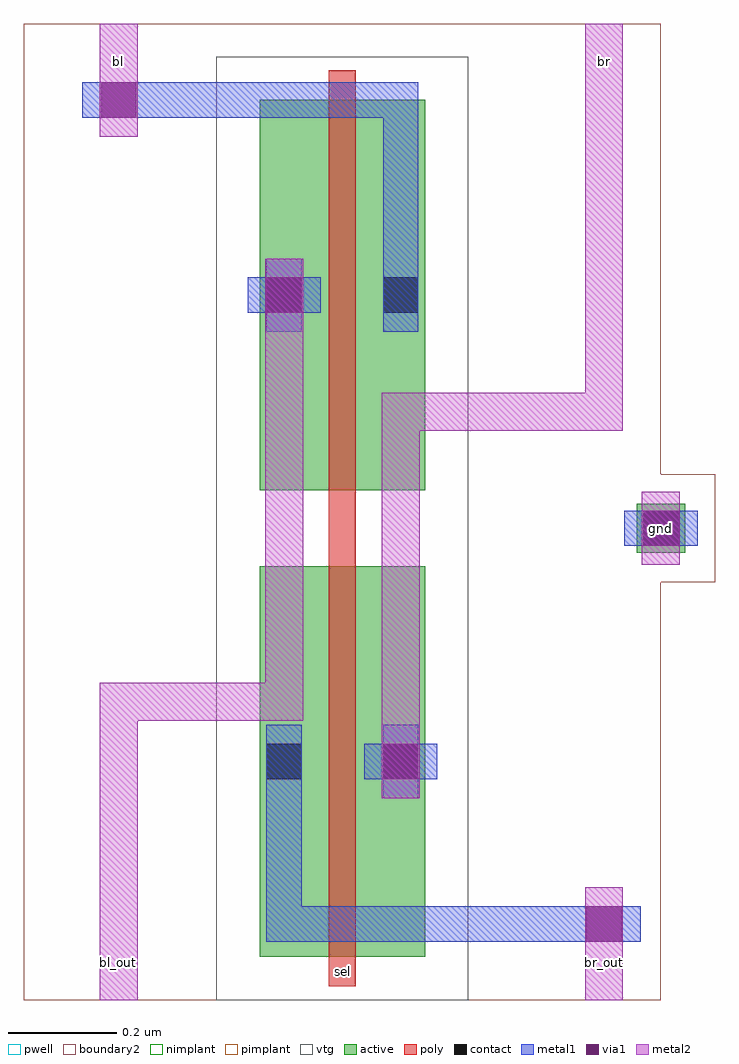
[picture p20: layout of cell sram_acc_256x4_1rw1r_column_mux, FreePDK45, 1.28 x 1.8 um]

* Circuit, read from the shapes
.subckt sram_acc_256x4_1rw1r_column_mux bl bl_out br br_out gnd sel
M1 br sel br_out gnd nfet w=0.72u l=0.05u
M2 bl sel bl_out gnd nfet w=0.72u l=0.05u
.ends

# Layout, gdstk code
import gdstk
lib = gdstk.Library(unit=1e-6, precision=5e-10)
def R(c, l, rs):  # rectangles x0, y0, x1, y1
    for r in rs: c.add(gdstk.rectangle(r[:2], r[2:], *l))
active = (1, 0)
pwell = (2, 0)
nimplant = (4, 0)
pimplant = (5, 0)
vtg = (6, 0)
poly = (9, 0)
contact = (10, 0)
metal1 = (11, 0)
via1 = (12, 0)
metal2 = (13, 0)
boundary2 = (239, 0)

sram_acc_256x4_1rw1r_con = lib.new_cell('sram_acc_256x4_1rw1r_contact_10')
R(sram_acc_256x4_1rw1r_con, active, [(0,0.0225,0.09,0.1125)])
R(sram_acc_256x4_1rw1r_con, pwell, [(-0.055,-0.0325,0.145,0.1675)])
R(sram_acc_256x4_1rw1r_con, nimplant, [(0,0.0225,0.09,0.1125)])
R(sram_acc_256x4_1rw1r_con, contact, [(0.0125,0.035,0.0775,0.1)])
R(sram_acc_256x4_1rw1r_con, metal1, [(0.0125,0,0.0775,0.135)])
R(sram_acc_256x4_1rw1r_con, boundary2, [(-0.055,-0.0325,0.145,0.1675)])

sram_acc_256x4_1rw1r_nmo = lib.new_cell('sram_acc_256x4_1rw1r_nmos_m1_w0_720_sm1_dm1')
R(sram_acc_256x4_1rw1r_nmo, active, [(0,0,0.305,0.72)])
R(sram_acc_256x4_1rw1r_nmo, pwell, [(-0.08,-0.08,0.385,0.8)])
R(sram_acc_256x4_1rw1r_nmo, nimplant, [(0,0,0.305,0.72)])
R(sram_acc_256x4_1rw1r_nmo, vtg, [(-0.08,-0.08,0.385,0.8)])
R(sram_acc_256x4_1rw1r_nmo, poly, [(0.1275,-0.055,0.1775,0.775), (0.1275,-0.055,0.1775,0.775)])
R(sram_acc_256x4_1rw1r_nmo, metal1, [(0.0125,0.2925,0.0775,0.4275), (0.2275,0.2925,0.2925,0.4275)])
R(sram_acc_256x4_1rw1r_nmo, boundary2, [(-0.08,-0.08,0.385,0.8)])
sram_acc_256x4_1rw1r_nmo.add(gdstk.Reference(sram_acc_256x4_1rw1r_con, (0,0.2925)))
sram_acc_256x4_1rw1r_nmo.add(gdstk.Reference(sram_acc_256x4_1rw1r_con, (0.215,0.2925)))
sram_acc_256x4_1rw1r_nmo.add(gdstk.Label('G', (0.1525,0.36), layer=9, texttype=0))
sram_acc_256x4_1rw1r_nmo.add(gdstk.Label('S', (0.045,0.36), layer=11, texttype=0))
sram_acc_256x4_1rw1r_nmo.add(gdstk.Label('D', (0.26,0.36), layer=11, texttype=0))

c_sram_acc_256x4_1rw1r_con = lib.new_cell('sram_acc_256x4_1rw1r_contact_17')
R(c_sram_acc_256x4_1rw1r_con, metal1, [(0,0.035,0.135,0.1)])
R(c_sram_acc_256x4_1rw1r_con, via1, [(0.035,0.035,0.1,0.1)])
R(c_sram_acc_256x4_1rw1r_con, metal2, [(0.0325,0,0.1025,0.135)])
R(c_sram_acc_256x4_1rw1r_con, boundary2, [(0,0,0.135,0.135)])

c_sram_acc_256x4_1rw1r_con_ = lib.new_cell('sram_acc_256x4_1rw1r_contact_24')
R(c_sram_acc_256x4_1rw1r_con_, active, [(0.0225,0,0.1125,0.09)])
R(c_sram_acc_256x4_1rw1r_con_, pwell, [(-0.0325,-0.055,0.1675,0.145)])
R(c_sram_acc_256x4_1rw1r_con_, pimplant, [(0.0225,0,0.1125,0.09)])
R(c_sram_acc_256x4_1rw1r_con_, contact, [(0.035,0.0125,0.1,0.0775)])
R(c_sram_acc_256x4_1rw1r_con_, metal1, [(0,0.0125,0.135,0.0775)])
R(c_sram_acc_256x4_1rw1r_con_, boundary2, [(-0.0325,-0.055,0.1675,0.145)])

sram_acc_256x4_1rw1r_col = lib.new_cell('sram_acc_256x4_1rw1r_column_mux')
R(sram_acc_256x4_1rw1r_col, pwell, [(0,0,1.175,1.8)])
R(sram_acc_256x4_1rw1r_col, poly, [(0.5625,0.025,0.6125,0.08), (0.5625,0.8,0.6125,0.94)])
R(sram_acc_256x4_1rw1r_col, metal1, [(0.4475,0.1075,0.5125,0.1725), (0.48,0.1075,1.07,0.1725), (0.4475,0.14,0.5125,0.44), (1.1425,0.8375,1.2075,0.9025), (0.6625,1.3,0.7275,1.66), (0.14,1.6275,0.695,1.6925), (0.6625,1.6275,0.7275,1.6925)])
R(sram_acc_256x4_1rw1r_col, metal2, [(0.14,0,0.21,0.14), (1.035,0,1.105,0.14), (0.14,0.14,0.21,0.55), (0.66,0.44,0.73,1.085), (0.14,0.515,0.21,0.585), (0.175,0.515,0.48,0.585), (0.445,0.515,0.515,0.585), (0.445,0.55,0.515,1.3), (0.66,1.05,0.73,1.12), (0.695,1.05,1.07,1.12), (1.035,1.05,1.105,1.12), (1.035,1.085,1.105,1.66), (0.14,1.66,0.21,1.8), (1.035,1.66,1.105,1.8)])
R(sram_acc_256x4_1rw1r_col, boundary2, [(0,0,1.175,1.8)])
sram_acc_256x4_1rw1r_col.add(gdstk.Reference(sram_acc_256x4_1rw1r_nmo, (0.435,0.08)))
sram_acc_256x4_1rw1r_col.add(gdstk.Reference(sram_acc_256x4_1rw1r_nmo, (0.435,0.94)))
sram_acc_256x4_1rw1r_col.add(gdstk.Reference(c_sram_acc_256x4_1rw1r_con, (0.1075,1.5925)))
sram_acc_256x4_1rw1r_col.add(gdstk.Reference(c_sram_acc_256x4_1rw1r_con, (1.0025,0.0725)))
sram_acc_256x4_1rw1r_col.add(gdstk.Reference(c_sram_acc_256x4_1rw1r_con, (0.4125,1.2325)))
sram_acc_256x4_1rw1r_col.add(gdstk.Reference(c_sram_acc_256x4_1rw1r_con, (0.6275,0.3725)))
sram_acc_256x4_1rw1r_col.add(gdstk.Reference(c_sram_acc_256x4_1rw1r_con_, (1.1075,0.825)))
sram_acc_256x4_1rw1r_col.add(gdstk.Reference(c_sram_acc_256x4_1rw1r_con, (1.1075,0.8025)))
sram_acc_256x4_1rw1r_col.add(gdstk.Label('sel', (0.5875,0.0525), layer=9, texttype=0))
sram_acc_256x4_1rw1r_col.add(gdstk.Label('bl', (0.175,1.73), layer=13, texttype=0))
sram_acc_256x4_1rw1r_col.add(gdstk.Label('br', (1.07,1.73), layer=13, texttype=0))
sram_acc_256x4_1rw1r_col.add(gdstk.Label('bl_out', (0.175,0.07), layer=13, texttype=0))
sram_acc_256x4_1rw1r_col.add(gdstk.Label('br_out', (1.07,0.07), layer=13, texttype=0))
sram_acc_256x4_1rw1r_col.add(gdstk.Label('gnd', (1.175,0.87), layer=11, texttype=0))

lib.write_gds('sram_acc_256x4_1rw1r_column_mux.gds')
